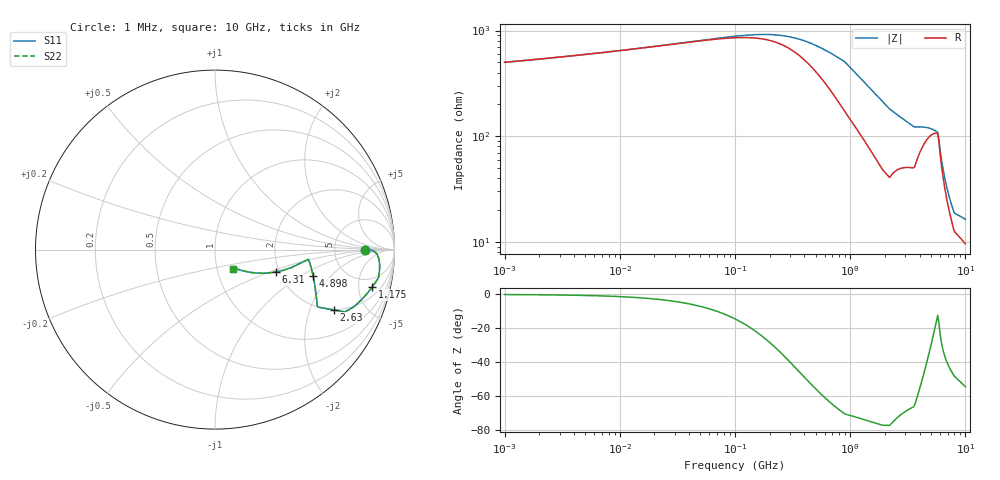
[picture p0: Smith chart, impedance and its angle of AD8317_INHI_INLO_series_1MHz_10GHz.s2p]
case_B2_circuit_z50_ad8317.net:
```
# B: circuit model of J1->U1 + AD8317 Zin
Pac:P1 n1 gnd Num="1" Z="50 Ohm" P="0 dBm" f="1e9"
TLIN:PAD n1 a Z="71.42 Ohm" L="1.856910e-03" Alpha="1.4753" Temp="26.85"
TLIN:L1 a r1 Z="50.00 Ohm" L="1.095395e-03" Alpha="1.4700" Temp="26.85"
TLIN:L2 r1 r2 Z="50.00 Ohm" L="1.685223e-03" Alpha="1.4700" Temp="26.85"
TLIN:L3 r2 c1a Z="50.00 Ohm" L="1.853745e-03" Alpha="1.4700" Temp="26.85"
TLIN:L4 c1b inhi Z="50.00 Ohm" L="2.831174e-03" Alpha="1.4700" Temp="26.85"
TLIN:L5 inlo c2b Z="50.00 Ohm" L="2.864879e-03" Alpha="1.4700" Temp="26.85"
R:R1 r1 R1x R="100 Ohm" Temp="26.85"
L:R1L R1x gnd L="0.25 nH"
R:R2 r2 R2x R="100 Ohm" Temp="26.85"
L:R2L R2x gnd L="0.25 nH"
C:C1 c1a c1m C="47 nF"
L:C1L c1m c1n L="0.25 nH"
R:C1R c1n c1b R="0.035 Ohm"
C:C2 c2b c2m C="47 nF"
L:C2L c2m c2n L="0.25 nH"
R:C2R c2n gnd R="0.035 Ohm"
SPfile:CHIP inhi inlo gnd File="AD8317_INHI_INLO_series_1MHz_10GHz.s2p" Data="rectangular" Interpolator="linear" duringDC="open"
.SP:SP1 Type="log" Start="1e6" Stop="1e10" Points="401"
```
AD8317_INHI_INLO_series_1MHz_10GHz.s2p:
! AD8317 input impedance model, 1 MHz - 10 GHz (datasheet Rev.D R||C table, see ad8317_input_model.py)
! Reference impedance 50 ohm. INLO is ac-coupled RF common.
! 2-port series element Zin between port1 (INHI) and port2 (INLO). Connect to rfsim ports 2 and 3.
# HZ S RI R 50
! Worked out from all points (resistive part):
!   401 points, 1 MHz to 10 GHz, reference 50 ohm
!   read as one part in series: R = 502 ohm at 1.047 MHz
!   S11 on the Smith chart (normalised r, x): 1 MHz: 11, -0; 1.175 GHz: 3.22, -7.09; 2.63 GHz: 1.97, -2.97; 4.898 GHz: 2.99, -1.30; 6.31 GHz: 1.91, -0.55; 10 GHz: 1.19, -0.27
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1000000  0.8333 -0.000305  0.1667 0.000305  0.1667 0.000305  0.8333 -0.000305
1.023293e8  0.9009 -0.0234  0.0991 0.0234  0.0991 0.0234  0.9009 -0.0234
3.715352e8  0.9164 -0.0746  0.0836 0.0746  0.0836 0.0746  0.9164 -0.0746
1.174898e9  0.8761 -0.2082  0.1239 0.2082  0.1239 0.2082  0.8761 -0.2082
2.630268e9  0.663 -0.3363  0.337 0.3363  0.337 0.3363  0.663 -0.3363
3.630781e9  0.5705 -0.3148  0.4295 0.3148  0.4295 0.3148  0.5705 -0.3148
4.897788e9  0.5468 -0.1473  0.4532 0.1473  0.4532 0.1473  0.5468 -0.1473
5.623413e9  0.5256 -0.0676  0.4744 0.0676  0.4744 0.0676  0.5256 -0.0676
6.309573e9  0.3373 -0.1251  0.6627 0.1251  0.6627 0.1251  0.3373 -0.1251
7.943282e9  0.1279 -0.1095  0.8721 0.1095  0.8721 0.1095  0.1279 -0.1095
1e10  0.1004 -0.109  0.8996 0.109  0.8996 0.109  0.1004 -0.109
